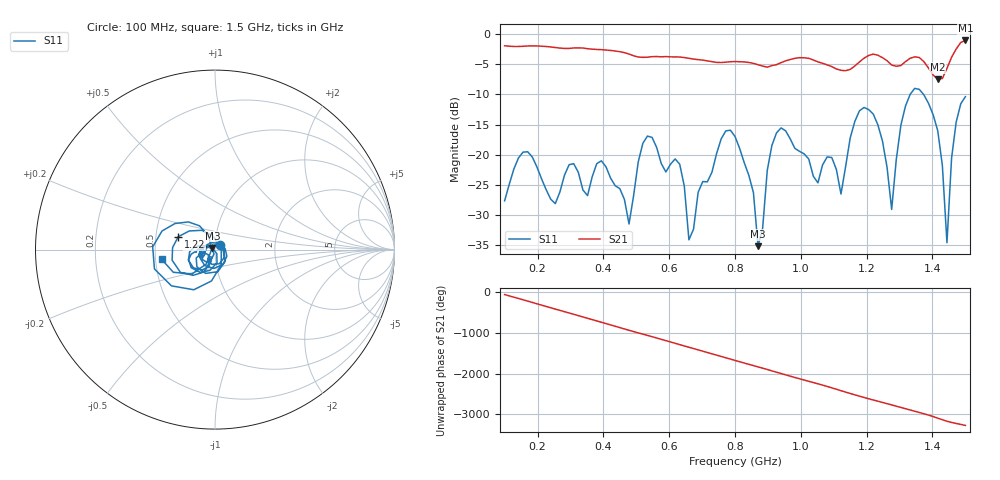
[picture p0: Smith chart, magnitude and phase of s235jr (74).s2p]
! NanoVNA-App
! Date: 2025-09-26 09:45:22
! Start: 100MHz Stop: 1,5GHz Points: 101
! S-Parameter data: F S11 S21 S12 S22
# Hz S RI R 50
!  Frequency  S11_Real  S11_Imag  S21_Real  S21_Imag  S12_Real  S12_Imag  S22_Real  S22_Imag
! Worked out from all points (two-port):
!   101 points, 100 MHz to 1.5 GHz, reference 50 ohm
!   highest |S21| = -1.08 dB at 1.5 GHz (marker M1); lowest = -7.5 dB at 1.416 GHz (marker M2)
!   |S21| within 3 dB of the highest: start of sweep to 665.1 MHz; 1.191 GHz to 1.252 GHz (61.74 MHz wide, 5.05 % of centre) (the widest 2 of 5)
!   lowest |S11| = -35.2 dB at 870 MHz (marker M3), VSWR 1.04, Z = 48.6 + j0.939 ohm
!   |S11| at or under -10 dB: start of sweep to 1.332 GHz; 1.373 GHz to end of sweep
!   S12 and S22 are empty: the file has one direction only
!   S11 on the Smith chart (normalised r, x): 100 MHz: 1.06, +0.06; 1.22 GHz: 0.65, +0.10; 1.5 GHz: 0.54, -0.06
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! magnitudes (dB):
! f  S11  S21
! 100 MHz  -27.6  -2.0
! 156 MHz  -19.6  -2.0
! 338 MHz  -25.9  -2.3
! 394 MHz  -21.0  -2.6
! 478 MHz  -31.5  -3.3
! 520 MHz  -18.1  -3.9
! 576 MHz  -21.5  -3.8
! 632 MHz  -21.6  -3.8
! 660 MHz  -34.1  -4.0
! 800 MHz  -17.0  -4.6
! 870 MHz  -35.2  -5.1
! 926 MHz  -16.4  -5.1
! 1.038 GHz  -23.6  -4.3
! 1.122 GHz  -26.5  -6.0
! 1.164 GHz  -14.5  -5.3
! 1.22 GHz  -13.3  -3.3
! 1.276 GHz  -29.1  -5.1
! 1.332 GHz  -10.0  -4.0
! 1.416 GHz  -16.0  -7.5
! 1.444 GHz  -34.6  -5.7
! 1.458 GHz  -20.6  -3.9
! 1.5 GHz  -10.4  -1.1
